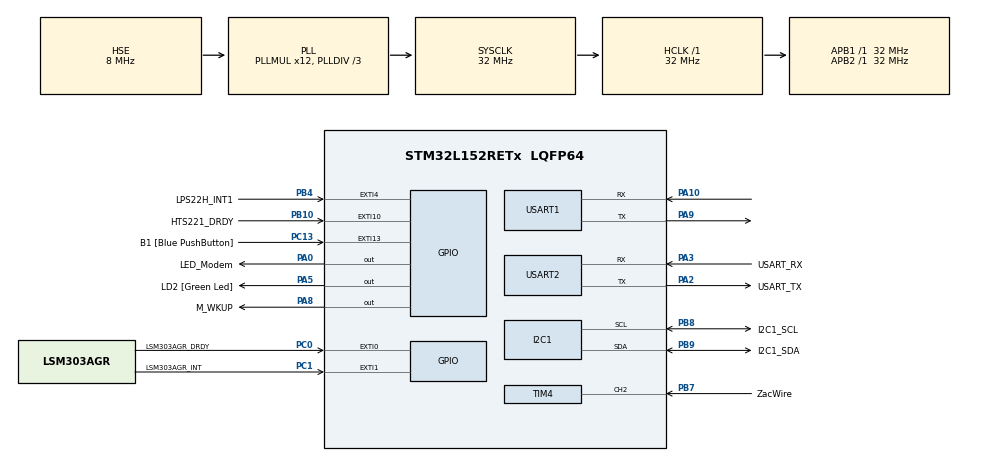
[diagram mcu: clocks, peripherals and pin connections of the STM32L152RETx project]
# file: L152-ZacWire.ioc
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Dma.Request0=USART1_RX
Dma.Request1=USART1_TX
Dma.Request2=USART2_RX
Dma.Request3=USART2_TX
Dma.USART1_RX.0.Direction=DMA_PERIPH_TO_MEMORY
Dma.USART1_RX.0.Instance=DMA1_Channel5
Dma.USART1_RX.0.MemDataAlignment=DMA_MDATAALIGN_BYTE
Dma.USART1_RX.0.MemInc=DMA_MINC_ENABLE
Dma.USART1_RX.0.Mode=DMA_CIRCULAR
Dma.USART1_RX.0.PeriphDataAlignment=DMA_PDATAALIGN_BYTE
Dma.USART1_RX.0.PeriphInc=DMA_PINC_DISABLE
Dma.USART1_RX.0.Priority=DMA_PRIORITY_MEDIUM
Dma.USART1_TX.1.Direction=DMA_MEMORY_TO_PERIPH
Dma.USART1_TX.1.Instance=DMA1_Channel4
Dma.USART1_TX.1.MemDataAlignment=DMA_MDATAALIGN_BYTE
Dma.USART1_TX.1.MemInc=DMA_MINC_ENABLE
Dma.USART1_TX.1.Mode=DMA_NORMAL
Dma.USART1_TX.1.PeriphDataAlignment=DMA_PDATAALIGN_BYTE
Dma.USART1_TX.1.PeriphInc=DMA_PINC_DISABLE
Dma.USART1_TX.1.Priority=DMA_PRIORITY_LOW
Dma.USART2_RX.2.Direction=DMA_PERIPH_TO_MEMORY
Dma.USART2_RX.2.Instance=DMA1_Channel6
Dma.USART2_RX.2.MemDataAlignment=DMA_MDATAALIGN_BYTE
Dma.USART2_RX.2.MemInc=DMA_MINC_ENABLE
Dma.USART2_RX.2.Mode=DMA_CIRCULAR
Dma.USART2_RX.2.PeriphDataAlignment=DMA_PDATAALIGN_BYTE
Dma.USART2_RX.2.PeriphInc=DMA_PINC_DISABLE
Dma.USART2_RX.2.Priority=DMA_PRIORITY_MEDIUM
Dma.USART2_TX.3.Direction=DMA_MEMORY_TO_PERIPH
Dma.USART2_TX.3.Instance=DMA1_Channel7
Dma.USART2_TX.3.MemDataAlignment=DMA_MDATAALIGN_BYTE
Dma.USART2_TX.3.MemInc=DMA_MINC_ENABLE
Dma.USART2_TX.3.Mode=DMA_NORMAL
Dma.USART2_TX.3.PeriphDataAlignment=DMA_PDATAALIGN_BYTE
Dma.USART2_TX.3.PeriphInc=DMA_PINC_DISABLE
Dma.USART2_TX.3.Priority=DMA_PRIORITY_LOW
FREERTOS.Mutexes01=wireMutex,Dynamic,NULL
FREERTOS.Tasks01=defaultTask,0,512,StartDefaultTask,Default,NULL,Dynamic,NULL,NULL;readWire,2,512,StartTaskReadWire,Default,NULL,Dynamic,NULL,NULL;writeDebugTask,-3,512,StartWriteDebug,Default,NULL,Dynamic,NULL,NULL
FREERTOS.configMINIMAL_STACK_SIZE=512
FREERTOS.configTOTAL_HEAP_SIZE=16384
FREERTOS.configUSE_TIMERS=0
I2C1.I2C_Mode=I2C_Fast
Mcu.Family=STM32L1
Mcu.Name=STM32L152RETx
Mcu.Package=LQFP64
NVIC.DMA1_Channel4_IRQn=true\:5\:0\:false\:false\:true\:true\:false\:true
NVIC.DMA1_Channel5_IRQn=true\:5\:0\:false\:false\:true\:true\:false\:true
NVIC.DMA1_Channel6_IRQn=true\:5\:0\:false\:false\:true\:true\:false\:true
NVIC.DMA1_Channel7_IRQn=true\:5\:0\:false\:false\:true\:true\:false\:true
NVIC.EXTI0_IRQn=true\:5\:0\:false\:false\:true\:true\:true\:true
NVIC.EXTI15_10_IRQn=true\:5\:0\:false\:false\:true\:true\:true\:true
NVIC.EXTI1_IRQn=true\:5\:0\:false\:false\:true\:true\:true\:true
NVIC.EXTI4_IRQn=true\:5\:0\:false\:false\:true\:true\:true\:true
NVIC.PriorityGroup=NVIC_PRIORITYGROUP_4
NVIC.TIM4_IRQn=true\:5\:0\:false\:true\:true\:1\:true\:true\:true
NVIC.TIM6_IRQn=true\:0\:0\:false\:false\:true\:false\:false\:true
NVIC.TimeBase=TIM6_IRQn
NVIC.TimeBaseIP=TIM6
NVIC.USART1_IRQn=true\:5\:0\:false\:false\:true\:true\:true\:true
NVIC.USART2_IRQn=true\:5\:0\:false\:false\:true\:true\:true\:true
PA0-WKUP1.GPIO_Label=LED_Modem
PA0-WKUP1.Signal=GPIO_Output
PA10.Mode=Asynchronous
PA10.Signal=USART1_RX
PA13.GPIO_Label=TMS
PA13.Signal=SYS_JTMS-SWDIO
PA14.GPIO_Label=TCK
PA14.Signal=SYS_JTCK-SWCLK
PA2.GPIO_Label=USART_TX
PA2.Mode=Asynchronous
PA2.Signal=USART2_TX
PA3.GPIO_Label=USART_RX
PA3.Mode=Asynchronous
PA3.Signal=USART2_RX
PA5.GPIO_Label=LD2 [Green Led]
PA5.Signal=GPIO_Output
PA8.GPIO_Label=M_WKUP
PA8.Signal=GPIO_Output
PA9.Mode=Asynchronous
PA9.Signal=USART1_TX
PB10.GPIO_Label=HTS221_DRDY
PB10.Signal=GPXTI10
PB3.GPIO_Label=SWO
PB3.Signal=SYS_JTDO-TRACESWO
PB4.GPIO_Label=LPS22H_INT1
PB4.Signal=GPXTI4
PB7.GPIO_Label=ZacWire
PB7.GPIO_ModeDefaultPP=GPIO_MODE_AF_OD
PB7.GPIO_PuPd=GPIO_PULLUP
PB7.Signal=S_TIM4_CH2
PB8.GPIO_Label=I2C1_SCL
PB8.Mode=I2C
PB8.Signal=I2C1_SCL
PB9.GPIO_Label=I2C1_SDA
PB9.Mode=I2C
PB9.Signal=I2C1_SDA
PC0.GPIO_Label=LSM303AGR_DRDY
PC0.Signal=GPXTI0
PC1.GPIO_Label=LSM303AGR_INT
PC1.Signal=GPXTI1
PC13-WKUP2.GPIO_Label=B1 [Blue PushButton]
PC13-WKUP2.Signal=GPXTI13
PC14-OSC32_IN.Mode=LSE-External-Oscillator
PC14-OSC32_IN.Signal=RCC_OSC32_IN
PC15-OSC32_OUT.Mode=LSE-External-Oscillator
PC15-OSC32_OUT.Signal=RCC_OSC32_OUT
PH0-OSC_IN.Mode=HSE-External-Clock-Source
PH0-OSC_IN.Signal=RCC_OSC_IN
PH1-OSC_OUT.Signal=RCC_OSC_OUT
ProjectManager.HeapSize=0x200
ProjectManager.StackSize=0x400
ProjectManager.TargetToolchain=STM32CubeIDE
RCC.48MHZClocksFreq_Value=48000000
RCC.AHBFreq_Value=32000000
RCC.APB1Freq_Value=32000000
RCC.APB1TimFreq_Value=32000000
RCC.APB2Freq_Value=32000000
RCC.APB2TimFreq_Value=32000000
RCC.HCLKFreq_Value=32000000
RCC.HSE_VALUE=8000000
RCC.HSI_VALUE=16000000
RCC.MSI_VALUE=2097000
RCC.PLLDIV=RCC_PLL_DIV3
RCC.PLLMUL=RCC_PLL_MUL12
RCC.PLLSourceVirtual=RCC_PLLSOURCE_HSE
RCC.RTCClockSelectionVirtual=RCC_RTCCLKSOURCE_LSE
RCC.SYSCLKFreq_VALUE=32000000
RCC.SYSCLKSource=RCC_SYSCLKSOURCE_PLLCLK
RCC.USBOutput=48000000
RCC.VCOOutputFreq_Value=96000000
SH.S_TIM4_CH2.0=TIM4_CH2,PWM_Input_2
TIM4.ICPolarity_1=TIM_INPUTCHANNELPOLARITY_FALLING
TIM4.Period=0xFFFF
TIM4.Prescaler=32
TIM4.TIM_MasterOutputTrigger=TIM_TRGO_UPDATE
USART1.VirtualMode=VM_ASYNC
USART2.VirtualMode=VM_ASYNC
VP_FREERTOS_VS_CMSIS_V1.Mode=CMSIS_V1
VP_SYS_VS_tim6.Mode=TIM6
board=NUCLEO-L152RE

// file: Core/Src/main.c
/* USER CODE BEGIN Header */
/**
  ******************************************************************************
  * @file           : main.c
  * @brief          : Main program body
  ******************************************************************************
  * @attention
  *
  * <h2><center>&copy; Copyright (c) 2020 STMicroelectronics.
  * All rights reserved.</center></h2>
  *
  * This software component is licensed by ST under BSD 3-Clause license,
  * the "License"; You may not use this file except in compliance with the
  * License. You may obtain a copy of the License at:
  *                        opensource.org/licenses/BSD-3-Clause
  *
  ******************************************************************************
  */
/**
  * Accelerometer + Magnetometer sensor - LSM303AGR
  * - I2C ADDw = 3Ch (Mag)
  * - I2C ADDw = 32h (Acc)
  * Relative humidity and temperature sensor - HTS221
  * - I2C ADDw = BEh
  * Pressure sensor - LPS22HB
  * - I2C ADDw = BAh
  */
/**
  * PA8 could be set to GPIO output push/pull to signal WKUP1 on the slave
  * - WKUP1 is input pull down according to the doc
  */
/* USER CODE END Header */

#include "main.h"
#include "cmsis_os.h"

/* USER CODE BEGIN Includes */
#include <stdio.h>
#include <string.h>
/* USER CODE END Includes */

I2C_HandleTypeDef hi2c1;

TIM_HandleTypeDef htim4;

UART_HandleTypeDef huart1;
UART_HandleTypeDef huart2;
DMA_HandleTypeDef hdma_usart1_rx;
DMA_HandleTypeDef hdma_usart1_tx;
DMA_HandleTypeDef hdma_usart2_rx;
DMA_HandleTypeDef hdma_usart2_tx;

osThreadId defaultTaskHandle;
osThreadId readWireHandle;
osThreadId writeDebugTaskHandle;
osMutexId wireMutexHandle;
/* USER CODE BEGIN PV */

volatile unsigned int btn;
volatile unsigned int zw;
volatile uint8_t HTS_h;
volatile uint16_t HTS_t;
volatile unsigned int u1rc;
volatile unsigned int u1hrc;
volatile unsigned int u1tc;
volatile unsigned int u1htc;
volatile unsigned int u1ec;
volatile unsigned int u1ic;
volatile unsigned int u2rc;
volatile unsigned int u2hrc;
volatile unsigned int u2tc;
volatile unsigned int u2htc;
volatile unsigned int u2ec;
volatile unsigned int u2ic;
volatile unsigned int htsc;
volatile unsigned int htss;
volatile int16_t htsh;
volatile int16_t htst;
volatile unsigned int lpsc;
volatile unsigned int lpss;
volatile int32_t lpsp;
volatile int16_t lpst;

//unsigned int C1Low[16];
//unsigned int C1High[16];
//unsigned int C2Low[16];
//unsigned int C2High[16];
unsigned int sF[20];
unsigned int sR[20];
unsigned char dbgBuf[256];
unsigned char u2rx[32];
unsigned char u1tx[256];
unsigned char u1rx[64];

volatile uint8_t MagValid;
volatile uint8_t MagValue;
volatile uint8_t AccValid;
volatile uint8_t AccValue;
volatile uint8_t HTSValid;
volatile uint8_t HTSValue;
volatile uint8_t LPSValid;
volatile uint8_t LPSValue;
volatile uint8_t H0_rH_x2;
volatile uint8_t H1_rH_x2;
volatile uint16_t T0_degC_x8;
volatile uint16_t T1_degC_x8;
volatile int16_t H0_T0_OUT;
volatile int16_t H1_T0_OUT;
volatile int16_t T0_OUT;
volatile int16_t T1_OUT;
volatile uint8_t I2Creset;
volatile uint8_t I2Crecovered;
volatile uint8_t UARTrecovered;

/* USER CODE END PV */

void SystemClock_Config(void);
static void MX_GPIO_Init(void);
static void MX_USART2_UART_Init(void);
static void MX_TIM4_Init(void);
static void MX_I2C1_Init(void);
static void MX_USART1_UART_Init(void);
static void MX_DMA_Init(void);
void StartDefaultTask(void const * argument);
void StartTaskReadWire(void const * argument);
void StartWriteDebug(void const * argument);

static void MX_NVIC_Init(void);

int main(void)
{

  /* MCU Configuration--------------------------------------------------------*/

  /* Reset of all peripherals, Initializes the Flash interface and the Systick. */
  HAL_Init();

  /* Configure the system clock */
  SystemClock_Config();

  /* USER CODE BEGIN SysInit */

  // !!!!!  Make sure MX_DMA_Init(); comes before the UARTS here below...

  /* USER CODE END SysInit */

  /* Initialize all configured peripherals */
  MX_GPIO_Init();
  MX_DMA_Init();
  MX_USART2_UART_Init();
  MX_TIM4_Init();
  MX_I2C1_Init();
  MX_USART1_UART_Init();

  /* Initialize interrupts */
  MX_NVIC_Init();

  /* Create the mutex(es) */
  /* definition and creation of wireMutex */
  osMutexDef(wireMutex);
  wireMutexHandle = osMutexCreate(osMutex(wireMutex));

  /* Create the thread(s) */
  /* definition and creation of defaultTask */
  osThreadDef(defaultTask, StartDefaultTask, osPriorityNormal, 0, 512);
  defaultTaskHandle = osThreadCreate(osThread(defaultTask), NULL);

  /* definition and creation of readWire */
  osThreadDef(readWire, StartTaskReadWire, osPriorityHigh, 0, 512);
  readWireHandle = osThreadCreate(osThread(readWire), NULL);

  /* definition and creation of writeDebugTask */
  osThreadDef(writeDebugTask, StartWriteDebug, osPriorityIdle, 0, 512);
  writeDebugTaskHandle = osThreadCreate(osThread(writeDebugTask), NULL);

  /* Start scheduler */
  osKernelStart();

  /* We should never get here as control is now taken by the scheduler */
  /* Infinite loop */
  /* USER CODE BEGIN WHILE */
  while (1)
  {

	  //HAL_Delay(1000);
	  // ZacWire uses 130 us per cycle (bit), with 1 rest cycle between byte 1 and byte 2
	  // xSemaphoreGiveFromISR()
	  // EXTI_GenerateSWInterrupt()
	  // xTaskNotifyFromISR () - need to cause a reschedule with last parameter
    /* USER CODE END WHILE */

  }
}

void SystemClock_Config(void)
{
  RCC_OscInitTypeDef RCC_OscInitStruct = {0};
  RCC_ClkInitTypeDef RCC_ClkInitStruct = {0};

  /** Configure the main internal regulator output voltage
  */
  __HAL_PWR_VOLTAGESCALING_CONFIG(PWR_REGULATOR_VOLTAGE_SCALE1);
  /** Initializes the CPU, AHB and APB busses clocks
  */
  RCC_OscInitStruct.OscillatorType = RCC_OSCILLATORTYPE_HSE;
  RCC_OscInitStruct.HSEState = RCC_HSE_BYPASS;
  RCC_OscInitStruct.PLL.PLLState = RCC_PLL_ON;
  RCC_OscInitStruct.PLL.PLLSource = RCC_PLLSOURCE_HSE;
  RCC_OscInitStruct.PLL.PLLMUL = RCC_PLL_MUL12;
  RCC_OscInitStruct.PLL.PLLDIV = RCC_PLL_DIV3;
  if (HAL_RCC_OscConfig(&RCC_OscInitStruct) != HAL_OK)
  {
    Error_Handler();
  }
  /** Initializes the CPU, AHB and APB busses clocks
  */
  RCC_ClkInitStruct.ClockType = RCC_CLOCKTYPE_HCLK|RCC_CLOCKTYPE_SYSCLK
                              |RCC_CLOCKTYPE_PCLK1|RCC_CLOCKTYPE_PCLK2;
  RCC_ClkInitStruct.SYSCLKSource = RCC_SYSCLKSOURCE_PLLCLK;
  RCC_ClkInitStruct.AHBCLKDivider = RCC_SYSCLK_DIV1;
  RCC_ClkInitStruct.APB1CLKDivider = RCC_HCLK_DIV1;
  RCC_ClkInitStruct.APB2CLKDivider = RCC_HCLK_DIV1;

  if (HAL_RCC_ClockConfig(&RCC_ClkInitStruct, FLASH_LATENCY_1) != HAL_OK)
  {
    Error_Handler();
  }
}

/**
  * @brief NVIC Configuration.
  * @retval None
  */
static void MX_NVIC_Init(void)
{
  /* TIM4_IRQn interrupt configuration */
  HAL_NVIC_SetPriority(TIM4_IRQn, 5, 0);
  HAL_NVIC_EnableIRQ(TIM4_IRQn);
}

static void MX_I2C1_Init(void)
{

  hi2c1.Instance = I2C1;
  hi2c1.Init.ClockSpeed = 400000;
  hi2c1.Init.DutyCycle = I2C_DUTYCYCLE_2;
  hi2c1.Init.OwnAddress1 = 0;
  hi2c1.Init.AddressingMode = I2C_ADDRESSINGMODE_7BIT;
  hi2c1.Init.DualAddressMode = I2C_DUALADDRESS_DISABLE;
  hi2c1.Init.OwnAddress2 = 0;
  hi2c1.Init.GeneralCallMode = I2C_GENERALCALL_DISABLE;
  hi2c1.Init.NoStretchMode = I2C_NOSTRETCH_DISABLE;
  if (HAL_I2C_Init(&hi2c1) != HAL_OK)
  {
    Error_Handler();
  }

}

static void MX_TIM4_Init(void)
{

  TIM_SlaveConfigTypeDef sSlaveConfig = {0};
  TIM_IC_InitTypeDef sConfigIC = {0};
  TIM_MasterConfigTypeDef sMasterConfig = {0};

  htim4.Instance = TIM4;
  htim4.Init.Prescaler = 32;
  htim4.Init.CounterMode = TIM_COUNTERMODE_UP;
  htim4.Init.Period = 0xFFFF;
  htim4.Init.ClockDivision = TIM_CLOCKDIVISION_DIV1;
  htim4.Init.AutoReloadPreload = TIM_AUTORELOAD_PRELOAD_DISABLE;
  if (HAL_TIM_IC_Init(&htim4) != HAL_OK)
  {
    Error_Handler();
  }
  sSlaveConfig.SlaveMode = TIM_SLAVEMODE_RESET;
  sSlaveConfig.InputTrigger = TIM_TS_TI2FP2;
  sSlaveConfig.TriggerPolarity = TIM_INPUTCHANNELPOLARITY_RISING;
  sSlaveConfig.TriggerPrescaler = TIM_ICPSC_DIV1;
  sSlaveConfig.TriggerFilter = 0;
  if (HAL_TIM_SlaveConfigSynchro(&htim4, &sSlaveConfig) != HAL_OK)
  {
    Error_Handler();
  }
  sConfigIC.ICPolarity = TIM_INPUTCHANNELPOLARITY_FALLING;
  sConfigIC.ICSelection = TIM_ICSELECTION_INDIRECTTI;
  sConfigIC.ICPrescaler = TIM_ICPSC_DIV1;
  sConfigIC.ICFilter = 0;
  if (HAL_TIM_IC_ConfigChannel(&htim4, &sConfigIC, TIM_CHANNEL_1) != HAL_OK)
  {
    Error_Handler();
  }
  sConfigIC.ICPolarity = TIM_INPUTCHANNELPOLARITY_RISING;
  sConfigIC.ICSelection = TIM_ICSELECTION_DIRECTTI;
  if (HAL_TIM_IC_ConfigChannel(&htim4, &sConfigIC, TIM_CHANNEL_2) != HAL_OK)
  {
    Error_Handler();
  }
  sMasterConfig.MasterOutputTrigger = TIM_TRGO_UPDATE;
  sMasterConfig.MasterSlaveMode = TIM_MASTERSLAVEMODE_DISABLE;
  if (HAL_TIMEx_MasterConfigSynchronization(&htim4, &sMasterConfig) != HAL_OK)
  {
    Error_Handler();
  }

}

static void MX_USART1_UART_Init(void)
{

  huart1.Instance = USART1;
  huart1.Init.BaudRate = 115200;
  huart1.Init.WordLength = UART_WORDLENGTH_8B;
  huart1.Init.StopBits = UART_STOPBITS_1;
  huart1.Init.Parity = UART_PARITY_NONE;
  huart1.Init.Mode = UART_MODE_TX_RX;
  huart1.Init.HwFlowCtl = UART_HWCONTROL_NONE;
  huart1.Init.OverSampling = UART_OVERSAMPLING_16;
  if (HAL_UART_Init(&huart1) != HAL_OK)
  {
    Error_Handler();
  }

}

static void MX_USART2_UART_Init(void)
{

  huart2.Instance = USART2;
  huart2.Init.BaudRate = 115200;
  huart2.Init.WordLength = UART_WORDLENGTH_8B;
  huart2.Init.StopBits = UART_STOPBITS_1;
  huart2.Init.Parity = UART_PARITY_NONE;
  huart2.Init.Mode = UART_MODE_TX_RX;
  huart2.Init.HwFlowCtl = UART_HWCONTROL_NONE;
  huart2.Init.OverSampling = UART_OVERSAMPLING_16;
  if (HAL_UART_Init(&huart2) != HAL_OK)
  {
    Error_Handler();
  }

}

static void MX_DMA_Init(void)
{

  /* DMA controller clock enable */
  __HAL_RCC_DMA1_CLK_ENABLE();

  /* DMA interrupt init */
  /* DMA1_Channel4_IRQn interrupt configuration */
  HAL_NVIC_SetPriority(DMA1_Channel4_IRQn, 5, 0);
  HAL_NVIC_EnableIRQ(DMA1_Channel4_IRQn);
  /* DMA1_Channel5_IRQn interrupt configuration */
  HAL_NVIC_SetPriority(DMA1_Channel5_IRQn, 5, 0);
  HAL_NVIC_EnableIRQ(DMA1_Channel5_IRQn);
  /* DMA1_Channel6_IRQn interrupt configuration */
  HAL_NVIC_SetPriority(DMA1_Channel6_IRQn, 5, 0);
  HAL_NVIC_EnableIRQ(DMA1_Channel6_IRQn);
  /* DMA1_Channel7_IRQn interrupt configuration */
  HAL_NVIC_SetPriority(DMA1_Channel7_IRQn, 5, 0);
  HAL_NVIC_EnableIRQ(DMA1_Channel7_IRQn);

}

static void MX_GPIO_Init(void)
{
  GPIO_InitTypeDef GPIO_InitStruct = {0};

  /* GPIO Ports Clock Enable */
  __HAL_RCC_GPIOC_CLK_ENABLE();
  __HAL_RCC_GPIOH_CLK_ENABLE();
  __HAL_RCC_GPIOA_CLK_ENABLE();
  __HAL_RCC_GPIOB_CLK_ENABLE();

  /*Configure GPIO pin Output Level */
  HAL_GPIO_WritePin(GPIOA, LED_Modem_Pin|LD2_Pin|M_WKUP_Pin, GPIO_PIN_RESET);

  /*Configure GPIO pins : B1_Pin LSM303AGR_DRDY_Pin LSM303AGR_INT_Pin */
  GPIO_InitStruct.Pin = B1_Pin|LSM303AGR_DRDY_Pin|LSM303AGR_INT_Pin;
  GPIO_InitStruct.Mode = GPIO_MODE_IT_RISING;
  GPIO_InitStruct.Pull = GPIO_NOPULL;
  HAL_GPIO_Init(GPIOC, &GPIO_InitStruct);

  /*Configure GPIO pins : LED_Modem_Pin LD2_Pin M_WKUP_Pin */
  GPIO_InitStruct.Pin = LED_Modem_Pin|LD2_Pin|M_WKUP_Pin;
  GPIO_InitStruct.Mode = GPIO_MODE_OUTPUT_PP;
  GPIO_InitStruct.Pull = GPIO_NOPULL;
  GPIO_InitStruct.Speed = GPIO_SPEED_FREQ_LOW;
  HAL_GPIO_Init(GPIOA, &GPIO_InitStruct);

  /*Configure GPIO pins : HTS221_DRDY_Pin LPS22H_INT1_Pin */
  GPIO_InitStruct.Pin = HTS221_DRDY_Pin|LPS22H_INT1_Pin;
  GPIO_InitStruct.Mode = GPIO_MODE_IT_RISING;
  GPIO_InitStruct.Pull = GPIO_NOPULL;
  HAL_GPIO_Init(GPIOB, &GPIO_InitStruct);

  /* EXTI interrupt init*/
  HAL_NVIC_SetPriority(EXTI0_IRQn, 5, 0);
  HAL_NVIC_EnableIRQ(EXTI0_IRQn);

  HAL_NVIC_SetPriority(EXTI1_IRQn, 5, 0);
  HAL_NVIC_EnableIRQ(EXTI1_IRQn);

  HAL_NVIC_SetPriority(EXTI4_IRQn, 5, 0);
  HAL_NVIC_EnableIRQ(EXTI4_IRQn);

  HAL_NVIC_SetPriority(EXTI15_10_IRQn, 5, 0);
  HAL_NVIC_EnableIRQ(EXTI15_10_IRQn);

}

/* USER CODE BEGIN 4 */
/**
  * @brief  Input Capture callback in non blocking mode
  * @param  htim : TIM IC handle
  * @retval None
  */
void
TimerCapture_Ch2_Callback(void)
{
	/* Get the Input Capture value */
	static unsigned int cur = 0;
	unsigned int v1 = HAL_TIM_ReadCapturedValue(&htim4, TIM_CHANNEL_1);
	unsigned int v2 = HAL_TIM_ReadCapturedValue(&htim4, TIM_CHANNEL_2);
	v2 -= v1;
	if (v1 >= 256)
		cur = 0;
	else
		cur += 1;
	if (cur < 20)
	{
		sF[cur] = v1;
		sR[cur] = v2;
	}
	if (cur == 19)
	{
		// we can compute the 2 bytes...
		unsigned int one = sR[0] - 10;
		unsigned int zero = sR[0] + 10;
		int ok = 1;
		for (unsigned int i = 1; i < 20; i++)
		{
			if (sR[i] < one) {
				sR[i] = 1;
			}
			else if (sR[i] < zero)
			{
				if (!(i == 10 && sR[i] > one))
				{
					ok = 0;
					break;
				}
			}
			else
			{
				sR[i] = 0;
			}
		}
		unsigned int b1 = 0;
		unsigned int b2 = 0;
		if (ok)
		{
			unsigned int cnt = 0;
			for (unsigned int i = 1; i < 9; i++)
			{
				b1 = (b1 << 1) | sR[i];
				cnt += sR[i];
			}
			if ((cnt & 1) != sR[9])
				ok = 0;
			cnt = 0;
			for (unsigned int i = 11; i < 19; i++)
			{
				b2 = (b2 << 1) | sR[i];
				cnt += sR[i];
			}
			if ((cnt & 1) != sR[19])
				ok = 0;
		}
		if (ok)
		{
			zw = (b1 << 8) | b2;
		}
	}
}

void HAL_UART_TxCpltCallback(UART_HandleTypeDef *huart)
{
	BaseType_t xHigherPriorityTaskWoken = pdFALSE;

	if (huart->Instance == USART1)
	{
		u1tc += 1;
		/* Notify the task that the transmission is complete. */
    vTaskNotifyGiveFromISR(writeDebugTaskHandle, &xHigherPriorityTaskWoken);
    portYIELD_FROM_ISR(xHigherPriorityTaskWoken);
	}
	if (huart->Instance == USART2)
	{
		u2tc += 1;
    /* Notify the task that the transmission is complete. */
    vTaskNotifyGiveFromISR(writeDebugTaskHandle, &xHigherPriorityTaskWoken);
    portYIELD_FROM_ISR(xHigherPriorityTaskWoken);
	}
}

void HAL_UART_TxHalfCpltCallback(UART_HandleTypeDef *huart)
{
	if (huart->Instance == USART1)
		u1htc += 1;
	if (huart->Instance == USART2)
		u2htc += 1;
}

void HAL_UART_RxCpltCallback(UART_HandleTypeDef *huart)
{
	if (huart->Instance == USART1)
		u1rc += 1;
	if (huart->Instance == USART2)
		u2rc += 1;
}

void HAL_UART_RxHalfCpltCallback(UART_HandleTypeDef *huart)
{
	if (huart->Instance == USART1)
		u1hrc += 1;
	if (huart->Instance == USART2)
		u2hrc += 1;
}

void HAL_UART_ErrorCallback(UART_HandleTypeDef *huart)
{
	if (huart->Instance == USART1)
		u1ec += 1;
	if (huart->Instance == USART2)
		u2ec += 1;
}

void HAL_GPIO_EXTI_Callback(uint16_t GPIO_Pin)
{
	BaseType_t xHigherPriorityTaskWoken = pdFALSE;

	if(GPIO_Pin == HTS221_DRDY_Pin)
	{
		// we got something from the HTS
		htsc += 1;
    /* Notify the task that the transmission is complete. */
    vTaskNotifyGiveFromISR(readWireHandle, &xHigherPriorityTaskWoken);
    portYIELD_FROM_ISR(xHigherPriorityTaskWoken);
	}
	if(GPIO_Pin == LPS22H_INT1_Pin)
	{
		// we got something from the HTS
		lpsc += 1;
    /* Notify the task that the transmission is complete. */
    vTaskNotifyGiveFromISR(readWireHandle, &xHigherPriorityTaskWoken);
    portYIELD_FROM_ISR(xHigherPriorityTaskWoken);
	}
}

int UART_Receive(unsigned char *dest, const unsigned char *rx, UART_HandleTypeDef *huart, unsigned int *uxcc, const unsigned int max)
{
	unsigned int cc = __HAL_DMA_GET_COUNTER(huart->hdmarx);
	if (*uxcc != cc)
	{
		HAL_UART_DMAPause(huart);
  	int len = 0;
		if (cc > *uxcc)
		{
			for (unsigned int i = max - *uxcc; i < max; i++)
				dest[len++] = rx[i];
			for (unsigned int i = 0; i < max - cc; i++)
				dest[len++] = rx[i];
		}
		else
		{
			for (unsigned int i = max - *uxcc; i < max - cc; i++)
				dest[len++] = rx[i];
		}
		HAL_UART_DMAResume(huart);
  	*uxcc = cc;
  	return len;
	}
	return 0;
}

static int isRetOk(const unsigned char *s, int len, const char *r)
{
	int rl = strlen(r) - 1;
	for (unsigned int i = 0; i + rl < len; i++)
		if (memcmp(s + i, r, rl) == 0)
			return 1;
	return 0;
}
/* USER CODE END 4 */

void StartDefaultTask(void const * argument)
{
  /* USER CODE BEGIN 5 */
//	unsigned int cur = 0;
//	char buf[256];
  /* Infinite loop */
	for(;;)
	{
		HAL_GPIO_TogglePin(LD2_GPIO_Port,LD2_Pin);
		osDelay(1000);
	}
  /* USER CODE END 5 */
}

void StartTaskReadWire(void const * argument)
{
  /* USER CODE BEGIN StartTaskReadWire */
	const uint32_t I2C_Timeout = NUCLEO_I2C_EXPBD_TIMEOUT_MAX;
	const TickType_t xMaxBlockTime = pdMS_TO_TICKS( I2C_Timeout );
	uint32_t ulNotificationValue;
	HAL_TIM_IC_Start(&htim4, TIM_CHANNEL_1);
	HAL_TIM_IC_Start_IT(&htim4, TIM_CHANNEL_2);
  /* Infinite loop */
	enum status_t { INIT = 0, READY, BROKEN } hts = INIT, lps = INIT;
	uint8_t brokenCnt = 0;
	for(;;)
	{
  	//uint8_t addrBuf[2];
  	uint8_t dataBuf[16];
  	HAL_StatusTypeDef res;
    // Accelerometer + Magnetometer sensor - LSM303AGR
    // - I2C ADDw = 3Ch (Mag)
  	// WHO_AM_I_M R 4F 01001111 01000000
  	res = HAL_I2C_Mem_Read(&hi2c1, 0x3C, 0x4F, I2C_MEMADD_SIZE_8BIT, dataBuf, 1, I2C_Timeout);
		if (res != HAL_OK)
			MagValid = 0;
		else
		{
			MagValid = 1;
			MagValue = dataBuf[0];
		}
    // - I2C ADDw = 32h (Acc)
  	// WHO_AM_I_A R 0F 000 1111 00110011
  	res = HAL_I2C_Mem_Read(&hi2c1, 0x32, 0x0F, I2C_MEMADD_SIZE_8BIT, dataBuf, 1, I2C_Timeout);
		if (res != HAL_OK)
			AccValid = 0;
		else
		{
			AccValid = 1;
			AccValue = dataBuf[0];
		}
		// Relative humidity and temperature sensor - HTS221
    // - I2C ADDw = BEh
		// WHO_AM_I R 0F BC
		/*
		 * AV_CONF (10h)
		 *
		 *                7 6     5     4     3     2     1     0
		 *           Reserved AVGT2 AVGT1 AVGT0 AVGH2 AVGH1 AVGH0
		 *
		 * [7:6] Reserved
		 * [5:3] AVGT2-0: To select the numbers of averaged temperature samples (2 - 256)
		 * [2:0] AVGH2-0: To select the numbers of averaged humidity samples (4 - 512)
		 *
		 * AVGx2:0      Nr. internal average             Noise (RMS)   IDD 1 Hz
		 *         Temperature (AVGT) Humidity (AVGH)  Temp (°C) rH %     μA
		 * 000               2               4           0.08    0.4     0.80
		 * 001               4               8           0.05    0.3     1.05
		 * 010               8              16           0.04    0.2     1.40
		 * 011 (Default)    16              32           0.03    0.15    2.10
		 * 100              32              64           0.02    0.1     3.43
		 * 101              64             128           0.015   0.07    6.15
		 * 110             128             256           0.01    0.05   11.60
		 * 111             256             512           0.007   0.03   22.50
		 *
		 * CTRL_REG1 (20h)
		 *
		 *                                  7 6 5 4 3 2    1    0
		 *                              PD Reserved BDU ODR1 ODR0
		 *
		 * [7] PD: power-down control                                  (0: power-down mode;                 1: active mode)
		 * [6:3] Reserved
		 * [2] BDU: block data update                                  (0: continuous update;               1: output registers not updated until MSB and LSB reading)
		 * [1:0] ODR1, ODR0: output data rate selection
		 *
		 *   ODR1 ODR0 Humidity (Hz) Temperature (Hz)
		 *      0    0           One-shot
		 *      0    1     1 Hz             1 Hz
		 *      1    0     7 Hz             7 Hz
		 *      1    1    12.5 Hz          12.5 Hz
		 *
		 * CTRL_REG2 (21h)
		 *
		 *                            7 6 5 4 3 2      1        0
		 *                         BOOT  Reserved Heater ONE_SHOT
		 *
		 * [7] BOOT: Reboot memory content                             (0: normal mode;                     1: reboot memory content)
		 * [6:2] Reserved
		 * [1] Heater                                                  (0: heater disable;                  1: heater enable)
		 * [0] One-shot enable                                         (0: waiting for start of conversion; 1: start for a new dataset)
		 *
		 * CTRL_REG3 (22h)
		 *
		 *                         7     6    5 4 3    2      1 0
		 *                  DRDY_H_L PP_OD Reserved DRDY Reserved
		 *
		 * [7] DRDY_H_L: Data Ready output signal active high, low     (0: active high - default;           1: active low)
		 * [6] PP_OD: Push-pull / Open Drain selection on pin 3 (DRDY) (0: push-pull - default;             1: open drain)
		 * [5:3] Reserved
		 * [2] DRDY_EN: Data Ready enable                              (0: Data Ready disabled - default; 1: Data Ready signal available on pin 3)
		 * [1:0] Reserved
		 *
		 * STATUS_REG (27h)
		 *
		 *                                  7 6 5 4 3 2    1    0
		 *                                     Reserved H_DA T_DA
		 *
		 * [7:2] Reserved
		 *   [1] H_DA: Humidity data available.    (0: new data for humidity is not yet available;    1: new data for humidity is available)
		 *   [0] T_DA: Temperature data available. (0: new data for temperature is not yet available; 1: new data for temperature is available)
		 * H_DA is set to 1 whenever a new humidity sample is available.    H_DA is cleared anytime HUMIDITY_OUT_H (29h) register is read.
		 * T_DA is set to 1 whenever a new temperature sample is available. T_DA is cleared anytime TEMP_OUT_H     (2Bh) register is read.
		 *
		 * Output registers
		 * 28 H_OUT      (s16)   H7   H6   H5   H4   H3   H2   H1   H0
		 * 29                   H15  H14  H13  H12  H11  H10   H9   H8
		 * 2A T_OUT      (s16)   T7   T6   T5   T4   T3   T2   T1   T0
		 * 2B                   T15  T14  T13  T12  T11  T10   T9   T8
		 *
		 * Calibration registers
		 * 30 H0_rH_x2   (u8)  H0.7 H0.6 H0.5 H0.4 H0.3 H0.2 H0.1 H0.1
		 * 31 H1_rH_x2   (u8)  H1.7 H1.6 H1.5 H1.4 H1.3 H1.2 H1.1 H1.0
		 * 32 T0_degC_x8 (u8)  T0.7 T0.6 T0.5 T0.4 T0.3 T0.2 T0.1 T0.0
		 * 33 T1_degC_x8 (u8)  T1.7 T1.6 T1.5 T1.4 T1.3 T1.2 T1.1 T1.0
		 * 34 Reserved   (u16)
		 * 35 T1/T0 msb  (u2),(u2)        Reserved T1.9 T1.8 T0.9 T0.8
		 * 36 H0_T0_OUT  (s16)    7    6    5    4    3    2    1    0
		 * 37                    15   14   13   12   11   10    9    8
		 * 38                    Reserved
		 * 39
		 * 3A H1_T0_OUT  (s16)    7    6    5    4    3    2    1    0
		 * 3B                    15   14   13   12   11   10    9    8
		 * 3C T0_OUT     (s16)    7    6    5    4    3    2    1    0
		 * 3D                    15   14   13   12   11   10    9    8
		 * 3E T1_OUT     (s16)    7    6    5    4    3    2    1    0
		 * 3F                    15   14   13   12   11   10    9    8
		 */
		if (hts == INIT)
		{
	  	res = HAL_I2C_Mem_Read(&hi2c1, 0xBE, 0x0F, I2C_MEMADD_SIZE_8BIT, dataBuf, 1, I2C_Timeout);
			if (res != HAL_OK)
			{
				HTSValid = 0;
				hts = BROKEN;
			}
			else
			{
				HTSValid = 1;
				HTSValue = dataBuf[0];
				// reboot and power down to initialize
				res = HAL_I2C_Mem_Read(&hi2c1, 0xBE, 0x20 | 0x80, I2C_MEMADD_SIZE_8BIT, dataBuf, 2, I2C_Timeout);
			  /* HTS221 in power down */
			  //buffer[0] |= 0x01 << HTS221_PD_BIT;
			  dataBuf[0] |= 0x80;
			  /* Make HTS221 boot */
			  //buffer[1] |= 0x01 << HTS221_BOOT_BIT;
			  dataBuf[1] |= 0x80;
			  res = HAL_I2C_Mem_Write(&hi2c1, 0xBE, 0x20 | 0x80, I2C_MEMADD_SIZE_8BIT, dataBuf, 2, I2C_Timeout);
			  /* Dump of data output */
			  res = HAL_I2C_Mem_Read(&hi2c1, 0xBE, 0x28 | 0x80, I2C_MEMADD_SIZE_8BIT, dataBuf, 4, I2C_Timeout);
				memset(dataBuf,0,16); // while testing
		  	res = HAL_I2C_Mem_Read(&hi2c1, 0xBE, 0x30 | 0x80, I2C_MEMADD_SIZE_8BIT, dataBuf, 16, I2C_Timeout);
				if (res == HAL_OK)
				{
					H0_rH_x2 = dataBuf[0];
					H1_rH_x2 = dataBuf[1];
					T0_degC_x8 = dataBuf[2] | ((dataBuf[5] & 3) << 8);
					T1_degC_x8 = dataBuf[3] | ((dataBuf[5] & 0xc) << 6);
					H0_T0_OUT = dataBuf[6] | (dataBuf[7] << 8);
					H1_T0_OUT = dataBuf[10] | (dataBuf[11] << 8);
					T0_OUT = dataBuf[12] | (dataBuf[13] << 8);
					T1_OUT = dataBuf[14] | (dataBuf[15] << 8);
					// enable the data ready pin output
					res = HAL_I2C_Mem_Read(&hi2c1, 0xBE, 0x22, I2C_MEMADD_SIZE_8BIT, dataBuf, 1, I2C_Timeout);
					if (res == HAL_OK)
					{
						dataBuf[0] |= 4;
						res = HAL_I2C_Mem_Write(&hi2c1, 0xBE, 0x22, I2C_MEMADD_SIZE_8BIT, dataBuf, 1, I2C_Timeout);
						if (res == HAL_OK)
						{
							// need to power up the device
							dataBuf[0] = 0x84; // power up, BDU, one shot
							res = HAL_I2C_Mem_Write(&hi2c1, 0xBE, 0x20, I2C_MEMADD_SIZE_8BIT, dataBuf, 1, I2C_Timeout);
							if (res == HAL_OK)
								hts = READY;
						}
					}
				}
			}
		}
		else if (hts == READY)
		{
			// send as one-shot request
			dataBuf[0] = 1;
			res = HAL_I2C_Mem_Write(&hi2c1, 0xBE, 0x21, I2C_MEMADD_SIZE_8BIT, dataBuf, 1, I2C_Timeout);
			if (res == HAL_OK)
			{
				ulNotificationValue = ulTaskNotifyTake(pdTRUE, xMaxBlockTime);
				if (ulNotificationValue == 1)
				{
					// check that we have the results
					res = HAL_I2C_Mem_Read(&hi2c1, 0xBE, 0x27, I2C_MEMADD_SIZE_8BIT, dataBuf, 1, I2C_Timeout);
					if (res == HAL_OK)
					{
						htss = dataBuf[0];
						memset(dataBuf,0,4); // while testing
						res = HAL_I2C_Mem_Read(&hi2c1, 0xBE, 0x28 | 0x80, I2C_MEMADD_SIZE_8BIT, dataBuf, 4, I2C_Timeout);
						if (res == HAL_OK)
						{
							htsh = dataBuf[0] | (dataBuf[1] << 8);
							htst = dataBuf[2] | (dataBuf[3] << 8);
							// convert (linear extrapolation)
						  float tmp_f = (float)(htsh - H0_T0_OUT) * (float)(H1_rH_x2 - H0_rH_x2) / (float)(H1_T0_OUT - H0_T0_OUT) + H0_rH_x2;
							HTS_h =
									( tmp_f > 200.0f ) ? 200
											: ( tmp_f <    0.0f ) ?    0
											: ( uint8_t )tmp_f;
						  tmp_f = (float)(htst - T0_OUT) * (float)(T1_degC_x8 - T0_degC_x8) / (float)(T1_OUT - T0_OUT) + T0_degC_x8;
						  tmp_f /= 8.0;
						  tmp_f *= 10.0f;
							HTS_t = ( int16_t )tmp_f;
						}
						else
						{
							htsh = -1;
							htst = -1;
						}
					}
					else
						htss = 1014;
				}
				else
					htss = 1013;
			}
			else
			{
				HTSValid = 0;
				hts = BROKEN;
			}
		}
    // Pressure sensor - LPS22HB
    // - I2C ADDw = BAh
		// WHO_AM_I R 0F 10110001
		if (lps == INIT)
		{
	  	res = HAL_I2C_Mem_Read(&hi2c1, 0xBA, 0x0F, I2C_MEMADD_SIZE_8BIT, dataBuf, 1, I2C_Timeout);
			if (res != HAL_OK)
			{
				LPSValid = 0;
				lps = BROKEN;
			}
			else
			{
				LPSValid = 1;
				LPSValue = dataBuf[0];
				// CTRL_REG2 (11h) - perform sw reset and boot
				res = HAL_I2C_Mem_Read(&hi2c1, 0xBA, 0x11, I2C_MEMADD_SIZE_8BIT, dataBuf, 1, I2C_Timeout);
			  dataBuf[0] |= 0x84;
			  res = HAL_I2C_Mem_Write(&hi2c1, 0xBA, 0x11, I2C_MEMADD_SIZE_8BIT, dataBuf, 1, I2C_Timeout);
			  // CTRL_REG1 (10h) - set BDU - set one-shot
			  dataBuf[0] = 0x02;
			  res = HAL_I2C_Mem_Write(&hi2c1, 0xBA, 0x10, I2C_MEMADD_SIZE_8BIT, dataBuf, 1, I2C_Timeout);
			  // CTRL_REG2 (11h) - set IF_ADD_INC
			  dataBuf[0] = 0x10;
			  res = HAL_I2C_Mem_Write(&hi2c1, 0xBA, 0x11, I2C_MEMADD_SIZE_8BIT, dataBuf, 1, I2C_Timeout);
			  // CTRL_REG3 (12h) - Control register 3 - INT_DRDY pin control register
			  dataBuf[0] = 0x04; // request DRDY assertion when data is ready to read
			  res = HAL_I2C_Mem_Write(&hi2c1, 0xBA, 0x12, I2C_MEMADD_SIZE_8BIT, dataBuf, 1, I2C_Timeout);
			  lps = READY;
			}
		}
		else if (lps == READY)
		{
			// STATUS (27h)
			// send as one-shot request
			res = HAL_I2C_Mem_Read(&hi2c1, 0xBA, 0x11, I2C_MEMADD_SIZE_8BIT, dataBuf, 1, I2C_Timeout);
			dataBuf[0] |= 1;
			res = HAL_I2C_Mem_Write(&hi2c1, 0xBA, 0x11, I2C_MEMADD_SIZE_8BIT, dataBuf, 1, I2C_Timeout);
			if (res == HAL_OK)
			{
				ulNotificationValue = ulTaskNotifyTake(pdTRUE, xMaxBlockTime);
				if (ulNotificationValue == 1)
				{
					// check that we have the results
					res = HAL_I2C_Mem_Read(&hi2c1, 0xBA, 0x27, I2C_MEMADD_SIZE_8BIT, dataBuf, 1, I2C_Timeout);
					if (res == HAL_OK)
					{
						lpss = dataBuf[0];
						memset(dataBuf,0,5); // while testing
						res = HAL_I2C_Mem_Read(&hi2c1, 0xBA, 0x28 | 0x80, I2C_MEMADD_SIZE_8BIT, dataBuf, 5, I2C_Timeout);
						if (res == HAL_OK)
						{
							lpsp = dataBuf[0] | (dataBuf[1] << 8) | (dataBuf[2] << 16);
							lpst = dataBuf[3] | (dataBuf[4] << 8);
						  if(lpsp & 0x00800000)
						  	lpsp |= 0xFF000000; // propagate 2's complement on 32 bits
						}
						else
						{
							lpsp = -1;
							lpst = -1;
						}
					}
					else
						lpss = 1014;
				}
				else
					lpss = 1013;
			}
			else
			{
				LPSValid = 0;
				lps = BROKEN;
			}
		}
		osDelay(5000);
		if (MagValid == 0 || AccValid == 0 || HTSValid == 0 || LPSValid == 0)
		{
			if (brokenCnt >= 5)
			{
				I2Creset += 1;
				hts = INIT;
				lps = INIT;
				HAL_I2C_DeInit(&hi2c1);
				osDelay(100);
				HAL_I2C_Init(&hi2c1);
				osDelay(100);
			}
			else
			{
				brokenCnt += 1;
				if (HTSValid == 0)
					hts = INIT;
				if (LPSValid == 0)
					lps = INIT;
			}
		}
		else
		{
			if (brokenCnt > 0)
			{
				if (brokenCnt >= 5)
					I2Crecovered += 1;
				brokenCnt = 0;
			}
		}
	}
  /* USER CODE END StartTaskReadWire */
}

void StartWriteDebug(void const * argument)
{
  /* USER CODE BEGIN StartWriteDebug */
	enum modemStatus { INIT = 0, WAIT, READY, BROKEN } ms = INIT;
	uint32_t ulNotificationValue;
	const TickType_t xMaxBlockTime = pdMS_TO_TICKS( 2000 );
	TickType_t lastSend = uwTick;
	HAL_StatusTypeDef res;
  /* Infinite loop */
	unsigned int cur = 0;
	HAL_UART_Receive_DMA(&huart1, u1rx, 64);
	unsigned int u1cc = __HAL_DMA_GET_COUNTER(huart1.hdmarx);
	HAL_UART_Receive_DMA(&huart2, u2rx, 32);
	unsigned int u2cc = __HAL_DMA_GET_COUNTER(huart2.hdmarx);
	// FIXME - so far I failed to use IDLE interrupts to know when receive transmission is done
	//__HAL_UART_ENABLE_IT(&huart1, UART_IT_IDLE);
	// wait a few seconds to give the LoRa modem a chance to get ready
  osDelay(10000);
  for(;;)
  {
  	long int temp = (long int) zw * 2000 / 2047 - 500;
  	int len = snprintf((char *) dbgBuf, 256, "\r\nuwTick = %lu cur = %u btn = %u zw = %u T = %u.%u %u.%u %u.%u%% %u.%02u %lu\r\n",
											 uwTick, cur++, btn, zw, (unsigned int) temp / 10, (unsigned int) temp % 10, HTS_t / 10, HTS_t % 10, HTS_h / 2, (HTS_h % 2) * 5, lpst / 100, lpst % 100, lpsp / 4096);
  	// HAL_UART_Transmit(&huart2, dbgBuf, len, xMaxBlockTime);
  	HAL_UART_Transmit_DMA(&huart2, dbgBuf, len);
  	/* Could specify which task to wake up, but for now it is fixed. */
  	// StartTransmission( ucDataToTransmit, xDataLength );
  	ulNotificationValue = ulTaskNotifyTake(pdTRUE, xMaxBlockTime);
  	if(ulNotificationValue != 1)
  	{
  		/* The call to ulTaskNotifyTake() timed out. */
  		HAL_UART_DMAStop(&huart2);
  		len = snprintf((char *) dbgBuf, 256, "ulNotificationValue = %lu - seems bad\r\n", ulNotificationValue);
  		HAL_UART_Transmit(&huart2, dbgBuf, len, xMaxBlockTime);
  	}
#if PRINT_DEBUG_INFO
  	len = snprintf((char *) dbgBuf, 256, "u1rc = %u u1hrc = %u u1tc = %u u1htc = %u u1ec = %u u1ic = %u u1cc = %u\r\n", u1rc, u1hrc, u1tc, u1htc, u1ec, u1ic, u1cc);
  	HAL_UART_Transmit_DMA(&huart2, dbgBuf, len);
  	ulNotificationValue = ulTaskNotifyTake(pdTRUE, xMaxBlockTime);
  	len = snprintf((char *) dbgBuf, 256, "u2rc = %u u2hrc = %u u2tc = %u u2htc = %u u2ec = %u u2ic = %u u2cc = %u\r\n", u2rc, u2hrc, u2tc, u2htc, u2ec, u2ic, u2cc);
  	HAL_UART_Transmit_DMA(&huart2, dbgBuf, len);
  	ulNotificationValue = ulTaskNotifyTake(pdTRUE, xMaxBlockTime);
  	len = snprintf((char *) dbgBuf, 256, "H0_rH_x2 %u H1_rH_x2 %u T0_degC_x8 %u T1_degC_x8 %u H0_T0_OUT %d H1_T0_OUT %d T0_OUT %d T1_OUT %d\r\n", H0_rH_x2, H1_rH_x2, T0_degC_x8, T1_degC_x8, H0_T0_OUT, H1_T0_OUT, T0_OUT, T1_OUT);
  	HAL_UART_Transmit_DMA(&huart2, dbgBuf, len);
  	ulNotificationValue = ulTaskNotifyTake(pdTRUE, xMaxBlockTime);
  	len = snprintf((char *) dbgBuf, 256, "htsc = %u htss = %u htsh = %d htst = %d\r\n", htsc, htss, htsh, htst);
  	HAL_UART_Transmit_DMA(&huart2, dbgBuf, len);
  	ulNotificationValue = ulTaskNotifyTake(pdTRUE, xMaxBlockTime);
  	len = snprintf((char *) dbgBuf, 256, "lpsc = %u lpss = %u lpsp = %ld lpst = %d\r\n", lpsc, lpss, lpsp, lpst);
  	HAL_UART_Transmit_DMA(&huart2, dbgBuf, len);
  	ulNotificationValue = ulTaskNotifyTake(pdTRUE, xMaxBlockTime);
#endif
  	unsigned int cc = __HAL_DMA_GET_COUNTER(huart2.hdmarx);
  	if (u2cc != cc)
  	{
  		HAL_UART_DMAPause(&huart2);
  		len = snprintf((char *) dbgBuf, 256 - len, "%s", "Received : \"");
  		if (cc > u2cc)
  		{
  			for (unsigned int i = 32 - u2cc; i < 32; i++)
  				len += snprintf((char *) dbgBuf + len, 256 - len, "%c", u2rx[i]);
  			for (unsigned int i = 0; i < 32 - cc; i++)
  				len += snprintf((char *) dbgBuf + len, 256 - len, "%c", u2rx[i]);
  		}
  		else
  		{
  			for (unsigned int i = 32 - u2cc; i < 32 - cc; i++)
  				len += snprintf((char *) dbgBuf + len, 256 - len, "%c", u2rx[i]);
  		}
  		len += snprintf((char *) dbgBuf + len, 256 - len, "%s", "\"\r\n");
  		HAL_UART_DMAResume(&huart2);
    	HAL_UART_Transmit_DMA(&huart2, dbgBuf, len);
    	ulNotificationValue = ulTaskNotifyTake(pdTRUE, xMaxBlockTime);
    	u2cc = cc;
  	}
  	len = 0;
		if (MagValid)
			len += snprintf((char *) dbgBuf + len, 256 - len, "Mag: %02X(%s) ", MagValue, MagValue == 0x40 ? "Ok" : "??");
		else
			len += snprintf((char *) dbgBuf + len, 256 - len, "Mag failed ");
		if (AccValid)
			len += snprintf((char *) dbgBuf + len, 256 - len, "Acc: %02X(%s) ", AccValue, AccValue == 0x33 ? "Ok" : "??");
		else
			len += snprintf((char *) dbgBuf + len, 256 - len, "Acc failed ");
		if (HTSValid)
			len += snprintf((char *) dbgBuf + len, 256 - len, "HTS: %02X(%s) ", HTSValue, HTSValue == 0xBC ? "Ok" : "??");
		else
			len += snprintf((char *) dbgBuf + len, 256 - len, "HTS failed ");
		if (LPSValid)
			len += snprintf((char *) dbgBuf + len, 256 - len, "LPS: %02X(%s) ", LPSValue, LPSValue == 0xB1 ? "Ok" : "??");
		else
			len += snprintf((char *) dbgBuf + len, 256 - len, "LPS failed ");
		len += snprintf((char *) dbgBuf + len, 256 - len, "I2C %u %u UART %u\r\n", I2Creset, I2Crecovered, UARTrecovered);
		HAL_UART_Transmit_DMA(&huart2, dbgBuf, len);
  	ulNotificationValue = ulTaskNotifyTake(pdTRUE, xMaxBlockTime);
  	if (ms == INIT)
  	{
    	len = snprintf((char *) u1tx, 256, "%s\r", "AT");
  		res = HAL_UART_Transmit_DMA(&huart1, u1tx, len);
    	ulNotificationValue = ulTaskNotifyTake(pdTRUE, xMaxBlockTime);
    	//res = HAL_UART_Transmit(&huart1, (unsigned char *) "AT\r", 3, xMaxBlockTime);
  		len = 0;
  		if (res != HAL_OK || ulNotificationValue != 1)
  		{
  			ms = BROKEN;
  		}
  		else
  		{
  			osDelay(100);
  			len = UART_Receive(dbgBuf, u1rx, &huart1, &u1cc, 64);
  			// see if we got OK
  			if (!isRetOk(dbgBuf, len, "OK\r"))
  	  	{
  	  		ms = BROKEN;
  	  	}
  		}
  		if (ms == INIT)
  		{
      	len = snprintf((char *) u1tx, 256, "AT+APPEUI=%s\r", AppEUI);
    		res = HAL_UART_Transmit_DMA(&huart1, u1tx, len);
      	ulNotificationValue = ulTaskNotifyTake(pdTRUE, xMaxBlockTime);
    		len = 0;
    		if (res != HAL_OK || ulNotificationValue != 1)
    		{
    			ms = BROKEN;
    		}
    		else
    		{
    			osDelay(100);
    			len = UART_Receive(dbgBuf, u1rx, &huart1, &u1cc, 64);
    			// see if we got OK
    			if (!isRetOk(dbgBuf, len, "OK\r"))
    	  	{
    	  		ms = BROKEN;
    	  	}
    		}
  		}
  		if (ms == INIT)
  		{
      	len = snprintf((char *) u1tx, 256, "AT+AK=%s\r", AppKey);
    		res = HAL_UART_Transmit_DMA(&huart1, u1tx, len);
      	ulNotificationValue = ulTaskNotifyTake(pdTRUE, xMaxBlockTime);
    		len = 0;
    		if (res != HAL_OK || ulNotificationValue != 1)
    		{
    			ms = BROKEN;
    		}
    		else
    		{
    			osDelay(100);
    			len = UART_Receive(dbgBuf, u1rx, &huart1, &u1cc, 64);
    			// see if we got OK
    			if (!isRetOk(dbgBuf, len, "OK\r"))
    	  	{
    	  		ms = BROKEN;
    	  	}
    		}
  		}
  		if (ms == INIT)
  		{
      	len = snprintf((char *) u1tx, 256, "AT+ADDR=%s\r", DevAddr);
    		res = HAL_UART_Transmit_DMA(&huart1, u1tx, len);
      	ulNotificationValue = ulTaskNotifyTake(pdTRUE, xMaxBlockTime);
    		len = 0;
    		if (res != HAL_OK || ulNotificationValue != 1)
    		{
    			ms = BROKEN;
    		}
    		else
    		{
    			osDelay(100);
    			len = UART_Receive(dbgBuf, u1rx, &huart1, &u1cc, 64);
    			// see if we got OK
    			if (!isRetOk(dbgBuf, len, "OK\r"))
    	  	{
    	  		ms = BROKEN;
    	  	}
    		}
  		}
  		if (ms == INIT)
  		{
      	len = snprintf((char *) u1tx, 256, "AT+DR=%u\r", DataRate);
    		res = HAL_UART_Transmit_DMA(&huart1, u1tx, len);
      	ulNotificationValue = ulTaskNotifyTake(pdTRUE, xMaxBlockTime);
    		len = 0;
    		if (res != HAL_OK || ulNotificationValue != 1)
    		{
    			ms = BROKEN;
    		}
    		else
    		{
    			osDelay(100);
    			len = UART_Receive(dbgBuf, u1rx, &huart1, &u1cc, 64);
    			// see if we got OK
    			if (!isRetOk(dbgBuf, len, "OK\r"))
    	  	{
    	  		ms = BROKEN;
    	  	}
    		}
  		}
  		if (ms == INIT)
  		{
      	len = snprintf((char *) u1tx, 256, "AT+JOIN=%u\r", 1);
    		res = HAL_UART_Transmit_DMA(&huart1, u1tx, len);
      	ulNotificationValue = ulTaskNotifyTake(pdTRUE, xMaxBlockTime);
    		len = 0;
    		if (res != HAL_OK || ulNotificationValue != 1)
    		{
    			ms = BROKEN;
    		}
    		else
    		{
    			osDelay(100);
    			lastSend = uwTick;
    			len = UART_Receive(dbgBuf, u1rx, &huart1, &u1cc, 64);
    			// see if we got OK
    			if (!isRetOk(dbgBuf, len, "OK\r"))
    	  	{
    	  		ms = BROKEN;
    	  	}
    			else
    			{
    				if (isRetOk(dbgBuf, len, "+JoinAccepted"))
    					ms = READY;
    				else
    					ms = WAIT;
    			}
    		}
  		}
     	HAL_UART_Transmit_DMA(&huart2, dbgBuf, len);
    	ulNotificationValue = ulTaskNotifyTake(pdTRUE, xMaxBlockTime);
  	}
  	if (ms == WAIT)
  	{
  		// should timeout after a while
  		len = UART_Receive(dbgBuf, u1rx, &huart1, &u1cc, 64);
			if (isRetOk(dbgBuf, len, "+JoinAccepted"))
				ms = READY;
			else
			{
				len = 9;
				memcpy(dbgBuf,"WAITING\r\n",len);
				if (uwTick - lastSend > pdMS_TO_TICKS( 60000 ))
					ms = BROKEN;
			}
	   	HAL_UART_Transmit_DMA(&huart2, dbgBuf, len);
	  	ulNotificationValue = ulTaskNotifyTake(pdTRUE, xMaxBlockTime);
  	}
  	// FIXME - Nothing reads the modem output when the time is not elapsed
  	// Could check for received data, e.g. :
  	// # +RCV=99,4,22334400
  	if (ms == READY && uwTick - lastSend > pdMS_TO_TICKS( 30000 ))
  	{
  		len = snprintf((char *) u1tx, 256, "AT+JSTA\r");
  		res = HAL_UART_Transmit_DMA(&huart1, u1tx, len);
  		ulNotificationValue = ulTaskNotifyTake(pdTRUE, xMaxBlockTime);
  		osDelay(100);
  		len = UART_Receive(dbgBuf, u1rx, &huart1, &u1cc, 64);
  		if (isRetOk(dbgBuf, len, "1\r\nOK\r"))
  		{
  			// LPP_TEMPERATURE         103     // 2 bytes, 0.1°C signed
  			// LPP_RELATIVE_HUMIDITY   104     // 1 byte, 0.5% unsigned
  			// LPP_BAROMETRIC_PRESSURE 115     // 2 bytes 0.1 hPa Unsigned
  	  	HAL_GPIO_TogglePin(LED_Modem_GPIO_Port,LED_Modem_Pin);
    		len = snprintf((char *) u1tx, 256, "AT+SEND=%u," // SEND command to channel 99
											 "%02X%02X%02X%02X" // item 1 - temperature from ZacWire
											 "%02X%02X%02X%02X" // item 2 - temperature from HTS
											 "%02X%02X%02X" // item 3 - humidity from HTS
											 "%02X%02X%02X%02X" // item 4 - temperature from LPS
											 "%02X%02X%02X%02X" // item 5 - pressure from LPS
											 ",%u\r",99,
											 1,LPP_TEMPERATURE,(unsigned char) (temp >> 8) & 0xff,(unsigned char) temp & 0xff, // item 1 - temperature from ZacWire
											 2,LPP_TEMPERATURE,(unsigned char) (HTS_t >> 8) & 0xff,(unsigned char) HTS_t & 0xff, // item 2 - temperature from HTS
											 3,LPP_RELATIVE_HUMIDITY,HTS_h, // item 3 - humidity from HTS
											 4,LPP_TEMPERATURE,(unsigned char) ((lpst / 10) >> 8) & 0xff,(unsigned char) (lpst / 10) & 0xff, // item 4 - temperature from LPS
											 5,LPP_BAROMETRIC_PRESSURE,(unsigned char) ((lpsp * 10 / 4096) >> 8) & 0xff,(unsigned char) (lpsp * 10 / 4096) & 0xff, // item 5 - pressure from LPS
											 0); // no ack requested
    		res = HAL_UART_Transmit_DMA(&huart1, u1tx, len);
    		ulNotificationValue = ulTaskNotifyTake(pdTRUE, xMaxBlockTime);
      	HAL_GPIO_TogglePin(LED_Modem_GPIO_Port,LED_Modem_Pin);
      	lastSend = uwTick;
    		osDelay(2000);
    		len = UART_Receive(dbgBuf, u1rx, &huart1, &u1cc, 64);
    		if (!isRetOk(dbgBuf, len, "OK\r"))
    			ms = BROKEN;
  		}
  		else
  			ms = BROKEN;
     	HAL_UART_Transmit_DMA(&huart2, dbgBuf, len);
    	ulNotificationValue = ulTaskNotifyTake(pdTRUE, xMaxBlockTime);
  	}
  	if (ms == BROKEN)
		{
    	len = snprintf((char *) u1tx, 256, "AT+JSTA\r");
  		res = HAL_UART_Transmit_DMA(&huart1, u1tx, len);
    	ulNotificationValue = ulTaskNotifyTake(pdTRUE, xMaxBlockTime);
    	osDelay(100);
    	len = UART_Receive(dbgBuf, u1rx, &huart1, &u1cc, 64);
     	HAL_UART_Transmit_DMA(&huart2, dbgBuf, len);
    	ulNotificationValue = ulTaskNotifyTake(pdTRUE, xMaxBlockTime);
    	len = snprintf((char *) u1tx, 256, "AT+EUI\r");
  		res = HAL_UART_Transmit_DMA(&huart1, u1tx, len);
    	ulNotificationValue = ulTaskNotifyTake(pdTRUE, xMaxBlockTime);
    	osDelay(100);
    	len = UART_Receive(dbgBuf, u1rx, &huart1, &u1cc, 64);
     	HAL_UART_Transmit_DMA(&huart2, dbgBuf, len);
    	ulNotificationValue = ulTaskNotifyTake(pdTRUE, xMaxBlockTime);
    	len = snprintf((char *) u1tx, 256, "AT+BAND\r");
  		res = HAL_UART_Transmit_DMA(&huart1, u1tx, len);
    	ulNotificationValue = ulTaskNotifyTake(pdTRUE, xMaxBlockTime);
    	osDelay(100);
    	len = UART_Receive(dbgBuf, u1rx, &huart1, &u1cc, 64);
     	HAL_UART_Transmit_DMA(&huart2, dbgBuf, len);
    	ulNotificationValue = ulTaskNotifyTake(pdTRUE, xMaxBlockTime);
    	len = snprintf((char *) u1tx, 256, "AT+VER\r");
  		res = HAL_UART_Transmit_DMA(&huart1, u1tx, len);
    	ulNotificationValue = ulTaskNotifyTake(pdTRUE, xMaxBlockTime);
    	osDelay(100);
    	len = UART_Receive(dbgBuf, u1rx, &huart1, &u1cc, 64);
     	HAL_UART_Transmit_DMA(&huart2, dbgBuf, len);
    	ulNotificationValue = ulTaskNotifyTake(pdTRUE, xMaxBlockTime);
    	len = snprintf((char *) u1tx, 256, "AT+APPEUI\r");
  		res = HAL_UART_Transmit_DMA(&huart1, u1tx, len);
    	ulNotificationValue = ulTaskNotifyTake(pdTRUE, xMaxBlockTime);
    	osDelay(100);
    	len = UART_Receive(dbgBuf, u1rx, &huart1, &u1cc, 64);
     	HAL_UART_Transmit_DMA(&huart2, dbgBuf, len);
    	ulNotificationValue = ulTaskNotifyTake(pdTRUE, xMaxBlockTime);
    	len = snprintf((char *) u1tx, 256, "AT+ADDR\r");
  		res = HAL_UART_Transmit_DMA(&huart1, u1tx, len);
    	ulNotificationValue = ulTaskNotifyTake(pdTRUE, xMaxBlockTime);
    	osDelay(100);
    	len = UART_Receive(dbgBuf, u1rx, &huart1, &u1cc, 64);
     	HAL_UART_Transmit_DMA(&huart2, dbgBuf, len);
    	ulNotificationValue = ulTaskNotifyTake(pdTRUE, xMaxBlockTime);
    	len = snprintf((char *) u1tx, 256, "AT+DR\r");
  		res = HAL_UART_Transmit_DMA(&huart1, u1tx, len);
    	ulNotificationValue = ulTaskNotifyTake(pdTRUE, xMaxBlockTime);
    	osDelay(100);
    	len = UART_Receive(dbgBuf, u1rx, &huart1, &u1cc, 64);
     	HAL_UART_Transmit_DMA(&huart2, dbgBuf, len);
    	ulNotificationValue = ulTaskNotifyTake(pdTRUE, xMaxBlockTime);
    	len = snprintf((char *) u1tx, 256, "AT+DEFMODE\r");
  		res = HAL_UART_Transmit_DMA(&huart1, u1tx, len);
    	ulNotificationValue = ulTaskNotifyTake(pdTRUE, xMaxBlockTime);
    	osDelay(100);
    	len = UART_Receive(dbgBuf, u1rx, &huart1, &u1cc, 64);
     	HAL_UART_Transmit_DMA(&huart2, dbgBuf, len);
    	ulNotificationValue = ulTaskNotifyTake(pdTRUE, xMaxBlockTime);
    	len = snprintf((char *) u1tx, 256, "AT+AK\r");
  		res = HAL_UART_Transmit_DMA(&huart1, u1tx, len);
    	ulNotificationValue = ulTaskNotifyTake(pdTRUE, xMaxBlockTime);
    	osDelay(100);
    	len = UART_Receive(dbgBuf, u1rx, &huart1, &u1cc, 64);
     	HAL_UART_Transmit_DMA(&huart2, dbgBuf, len);
    	ulNotificationValue = ulTaskNotifyTake(pdTRUE, xMaxBlockTime);
    	// See if we can recover
    	len = snprintf((char *) u1tx, 256, "%s\r", "ATZ");
  		res = HAL_UART_Transmit_DMA(&huart1, u1tx, len);
    	ulNotificationValue = ulTaskNotifyTake(pdTRUE, xMaxBlockTime);
  		len = 0;
  		if (res == HAL_OK && ulNotificationValue == 1)
  		{
  			osDelay(100);
  			len = UART_Receive(dbgBuf, u1rx, &huart1, &u1cc, 64);
  			// see if we got OK
  			if (isRetOk(dbgBuf, len, "OK\r"))
  	  	{
  	  		ms = INIT;
  	    	UARTrecovered += 1;
  	  	}
  		}
		}
  	//HAL_GPIO_TogglePin(LED_Modem_GPIO_Port,LED_Modem_Pin);
    osDelay(10000);
  }
  /* USER CODE END StartWriteDebug */
}

 /**
  * @brief  Period elapsed callback in non blocking mode
  * @note   This function is called  when TIM6 interrupt took place, inside
  * HAL_TIM_IRQHandler(). It makes a direct call to HAL_IncTick() to increment
  * a global variable "uwTick" used as application time base.
  * @param  htim : TIM handle
  * @retval None
  */
void HAL_TIM_PeriodElapsedCallback(TIM_HandleTypeDef *htim)
{
  if (htim->Instance == TIM6) {
    HAL_IncTick();
  }
}

void Error_Handler(void)
{
}

/************************ (C) COPYRIGHT STMicroelectronics *****END OF FILE****/
